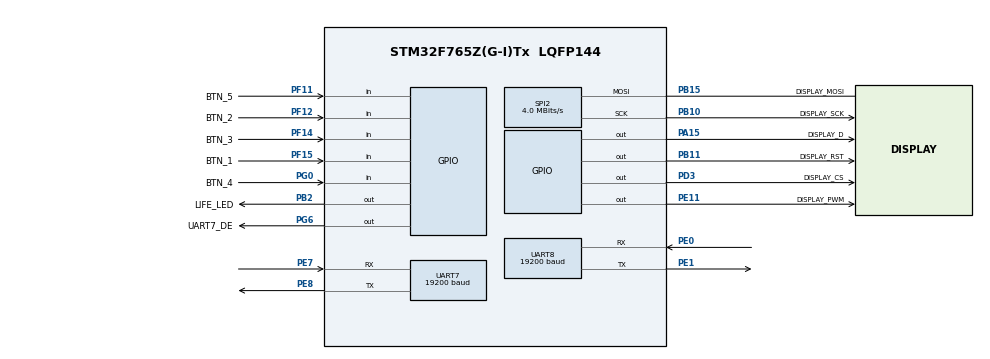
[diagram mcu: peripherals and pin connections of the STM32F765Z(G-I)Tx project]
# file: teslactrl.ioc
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Mcu.Family=STM32F7
Dma.SPI2_TX.0.MemInc=DMA_MINC_ENABLE
PG6.Signal=GPIO_Output
SPI2.VirtualType=VM_MASTER
PB10.Mode=Simplex_Bidirectional_Master
PE11.GPIO_Label=DISPLAY_PWM
PG6.GPIO_Label=UART7_DE
PG0.Signal=GPIO_Input
PB11.Signal=GPIO_Output
NVIC.DMA1_Stream4_IRQn=true\:0\:0\:false\:false\:true\:false\:true
PB15.Signal=SPI2_MOSI
Dma.SPI2_TX.0.Instance=DMA1_Stream4
ProjectManager.StackSize=0x400
Dma.SPI2_TX.0.MemDataAlignment=DMA_MDATAALIGN_HALFWORD
PA15.GPIO_Label=DISPLAY_D
SPI2.CLKPolarity=SPI_POLARITY_LOW
PF11.GPIO_Label=BTN_5
PF12.Signal=GPIO_Input
Dma.SPI2_TX.0.Mode=DMA_CIRCULAR
PE1.Signal=UART8_TX
SPI2.BaudRatePrescaler=SPI_BAUDRATEPRESCALER_4
RCC.HSE_VALUE=25000000
PB2.Signal=GPIO_Output
PB3.Mode=Trace_Asynchronous_SW
PF12.GPIO_Label=BTN_2
PA14.Mode=Trace_Asynchronous_SW
PF11.Signal=GPIO_Input
SPI2.CalculateBaudRate=4.0 MBits/s
Mcu.Package=LQFP144
Dma.SPI2_TX.0.PeriphBurst=DMA_PBURST_SINGLE
UART8.BaudRate=19200
SPI2.Mode=SPI_MODE_MASTER
PA15.Signal=GPIO_Output
PG0.GPIO_Label=BTN_4
SPI2.CLKPhase=SPI_PHASE_1EDGE
Dma.SPI2_TX.0.PeriphInc=DMA_PINC_DISABLE
PF14.Signal=GPIO_Input
SPI2.Direction=SPI_DIRECTION_1LINE
PD3.GPIO_Label=DISPLAY_CS
PE7.Signal=UART7_RX
Dma.Request0=SPI2_TX
PD3.Signal=GPIO_Output
PE1.Mode=Asynchronous
PB11.GPIO_Label=DISPLAY_RST
PF14.GPIO_Label=BTN_3
PE8.Mode=Asynchronous
PA13.Signal=SYS_JTMS-SWDIO
ProjectManager.TargetToolchain=STM32CubeIDE
PB10.GPIO_Label=DISPLAY_SCK
RCC.USBFreq_Value=96000000
PE11.Signal=GPIO_Output
RCC.LSE_VALUE=32768
PB10.Signal=SPI2_SCK
board=custom
RCC.VCOOutputFreq_Value=192000000
PB15.Mode=Simplex_Bidirectional_Master
Dma.SPI2_TX.0.FIFOThreshold=DMA_FIFO_THRESHOLD_FULL
PB15.GPIO_Label=DISPLAY_MOSI
PE8.Signal=UART7_TX
Dma.SPI2_TX.0.PeriphDataAlignment=DMA_PDATAALIGN_HALFWORD
PF15.GPIO_Label=BTN_1
PF15.Signal=GPIO_Input
PA13.Mode=Trace_Asynchronous_SW
PE0.Signal=UART8_RX
Mcu.Name=STM32F765Z(G-I)Tx
Dma.SPI2_TX.0.FIFOMode=DMA_FIFOMODE_ENABLE
PB3.Signal=SYS_JTDO-SWO
Dma.SPI2_TX.0.Priority=DMA_PRIORITY_LOW
PE7.Mode=Asynchronous
Dma.SPI2_TX.0.MemBurst=DMA_MBURST_SINGLE
PA14.Signal=SYS_JTCK-SWCLK
PB2.GPIO_Label=LIFE_LED
ProjectManager.HeapSize=0x200
UART7.BaudRate=19200
RCC.HSI_VALUE=16000000
NVIC.PriorityGroup=NVIC_PRIORITYGROUP_4
SPI2.DataSize=SPI_DATASIZE_8BIT
Dma.SPI2_TX.0.Direction=DMA_MEMORY_TO_PERIPH
PE0.Mode=Asynchronous

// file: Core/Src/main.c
/* USER CODE BEGIN Header */
/**
  ******************************************************************************
  * @file           : main.c
  * @brief          : Main program body
  ******************************************************************************
  * @attention
  *
  * <h2><center>&copy; Copyright (c) 2021 STMicroelectronics.
  * All rights reserved.</center></h2>
  *
  * This software component is licensed by ST under BSD 3-Clause license,
  * the "License"; You may not use this file except in compliance with the
  * License. You may obtain a copy of the License at:
  *                        opensource.org/licenses/BSD-3-Clause
  *
  ******************************************************************************
  */
/* USER CODE END Header */
#include "main.h"

/* USER CODE BEGIN Includes */
#include "modbus.h"
#include "ili9163.h"
#include "colors.h"

/* USER CODE END Includes */

SPI_HandleTypeDef hspi2;
DMA_HandleTypeDef hdma_spi2_tx;

UART_HandleTypeDef huart7;
UART_HandleTypeDef huart8;

/* USER CODE BEGIN PV */
uint8_t SPI_DMA_FL = 0;
uint32_t SPI_DMA_CNT=1;
uint8_t temp = 0;
/* USER CODE END PV */

void SystemClock_Config(void);
static void MX_GPIO_Init(void);
static void MX_DMA_Init(void);
static void MX_UART7_Init(void);
static void MX_UART8_Init(void);
static void MX_SPI2_Init(void);

/* USER CODE BEGIN 0 */
void HAL_SPI_TxCpltCallback(SPI_HandleTypeDef *hspi)
{
	SPI_DMA_CNT--;
	if(SPI_DMA_CNT==0)
	{
		HAL_SPI_DMAStop(&hspi2);
		SPI_DMA_CNT=1;
		SPI_DMA_FL=1;
	}
}

void HAL_SPI_ErrorCallback(SPI_HandleTypeDef *hspi)
{
	__NOP();
}
/* USER CODE END 0 */

int main(void)
{

  /* MCU Configuration--------------------------------------------------------*/

  /* Reset of all peripherals, Initializes the Flash interface and the Systick. */
  HAL_Init();

  /* Configure the system clock */
  SystemClock_Config();

  /* Initialize all configured peripherals */
  MX_GPIO_Init();
  MX_DMA_Init();
  MX_UART7_Init();
  MX_UART8_Init();
  MX_SPI2_Init();
  /* USER CODE BEGIN 2 */
  HAL_GPIO_WritePin(DISPLAY_PWM_GPIO_Port, DISPLAY_PWM_Pin, GPIO_PIN_SET);
  /*ili.rot = ROT0;
  ili.Height = 128;
  ili.Width = 160;
  Ili9163_Init(ili);
  uint8_t id = Ili9163_Read_ID1();*/
  ILI9163_init(0);
  ILI9163_newFrame();
  ILI9163_fillDisplay(GREEN);
  uint16_t test = 111;
  ILI9163_drawStringF(10, 10, Font_7x10, BLACK, "%u", test);
  //ILI9163_fillRect(0,0,200,200, RED);

  /* USER CODE END 2 */

  /* Infinite loop */
  while (1)
  {

    /* USER CODE BEGIN 3 */
	  ILI9163_render();
	  //id = Ili9163_Read_ID1();
	//Ili9163_Draw_Pixel(ili,10,10,BLACK);
	HAL_GPIO_TogglePin(LIFE_LED_GPIO_Port,LIFE_LED_Pin);
	HAL_Delay(500);
	//Modbus_RHR(1,2,4);
  }
  /* USER CODE END 3 */
}

void SystemClock_Config(void)
{
  RCC_OscInitTypeDef RCC_OscInitStruct = {0};
  RCC_ClkInitTypeDef RCC_ClkInitStruct = {0};
  RCC_PeriphCLKInitTypeDef PeriphClkInitStruct = {0};

  /** Configure the main internal regulator output voltage
  */
  __HAL_RCC_PWR_CLK_ENABLE();
  __HAL_PWR_VOLTAGESCALING_CONFIG(PWR_REGULATOR_VOLTAGE_SCALE3);
  /** Initializes the RCC Oscillators according to the specified parameters
  * in the RCC_OscInitTypeDef structure.
  */
  RCC_OscInitStruct.OscillatorType = RCC_OSCILLATORTYPE_HSI;
  RCC_OscInitStruct.HSIState = RCC_HSI_ON;
  RCC_OscInitStruct.HSICalibrationValue = RCC_HSICALIBRATION_DEFAULT;
  RCC_OscInitStruct.PLL.PLLState = RCC_PLL_NONE;
  if (HAL_RCC_OscConfig(&RCC_OscInitStruct) != HAL_OK)
  {
    Error_Handler();
  }
  /** Initializes the CPU, AHB and APB buses clocks
  */
  RCC_ClkInitStruct.ClockType = RCC_CLOCKTYPE_HCLK|RCC_CLOCKTYPE_SYSCLK
                              |RCC_CLOCKTYPE_PCLK1|RCC_CLOCKTYPE_PCLK2;
  RCC_ClkInitStruct.SYSCLKSource = RCC_SYSCLKSOURCE_HSI;
  RCC_ClkInitStruct.AHBCLKDivider = RCC_SYSCLK_DIV1;
  RCC_ClkInitStruct.APB1CLKDivider = RCC_HCLK_DIV1;
  RCC_ClkInitStruct.APB2CLKDivider = RCC_HCLK_DIV1;

  if (HAL_RCC_ClockConfig(&RCC_ClkInitStruct, FLASH_LATENCY_0) != HAL_OK)
  {
    Error_Handler();
  }
  PeriphClkInitStruct.PeriphClockSelection = RCC_PERIPHCLK_UART7|RCC_PERIPHCLK_UART8;
  PeriphClkInitStruct.Uart7ClockSelection = RCC_UART7CLKSOURCE_PCLK1;
  PeriphClkInitStruct.Uart8ClockSelection = RCC_UART8CLKSOURCE_PCLK1;
  if (HAL_RCCEx_PeriphCLKConfig(&PeriphClkInitStruct) != HAL_OK)
  {
    Error_Handler();
  }
}

static void MX_SPI2_Init(void)
{

  /* SPI2 parameter configuration*/
  hspi2.Instance = SPI2;
  hspi2.Init.Mode = SPI_MODE_MASTER;
  hspi2.Init.Direction = SPI_DIRECTION_1LINE;
  hspi2.Init.DataSize = SPI_DATASIZE_8BIT;
  hspi2.Init.CLKPolarity = SPI_POLARITY_LOW;
  hspi2.Init.CLKPhase = SPI_PHASE_1EDGE;
  hspi2.Init.NSS = SPI_NSS_SOFT;
  hspi2.Init.BaudRatePrescaler = SPI_BAUDRATEPRESCALER_4;
  hspi2.Init.FirstBit = SPI_FIRSTBIT_MSB;
  hspi2.Init.TIMode = SPI_TIMODE_DISABLE;
  hspi2.Init.CRCCalculation = SPI_CRCCALCULATION_DISABLE;
  hspi2.Init.CRCPolynomial = 7;
  hspi2.Init.CRCLength = SPI_CRC_LENGTH_DATASIZE;
  hspi2.Init.NSSPMode = SPI_NSS_PULSE_ENABLE;
  if (HAL_SPI_Init(&hspi2) != HAL_OK)
  {
    Error_Handler();
  }

}

static void MX_UART7_Init(void)
{

  huart7.Instance = UART7;
  huart7.Init.BaudRate = 19200;
  huart7.Init.WordLength = UART_WORDLENGTH_8B;
  huart7.Init.StopBits = UART_STOPBITS_1;
  huart7.Init.Parity = UART_PARITY_NONE;
  huart7.Init.Mode = UART_MODE_TX_RX;
  huart7.Init.HwFlowCtl = UART_HWCONTROL_NONE;
  huart7.Init.OverSampling = UART_OVERSAMPLING_16;
  huart7.Init.OneBitSampling = UART_ONE_BIT_SAMPLE_DISABLE;
  huart7.AdvancedInit.AdvFeatureInit = UART_ADVFEATURE_NO_INIT;
  if (HAL_UART_Init(&huart7) != HAL_OK)
  {
    Error_Handler();
  }

}

static void MX_UART8_Init(void)
{

  huart8.Instance = UART8;
  huart8.Init.BaudRate = 19200;
  huart8.Init.WordLength = UART_WORDLENGTH_8B;
  huart8.Init.StopBits = UART_STOPBITS_1;
  huart8.Init.Parity = UART_PARITY_NONE;
  huart8.Init.Mode = UART_MODE_TX_RX;
  huart8.Init.HwFlowCtl = UART_HWCONTROL_NONE;
  huart8.Init.OverSampling = UART_OVERSAMPLING_16;
  huart8.Init.OneBitSampling = UART_ONE_BIT_SAMPLE_DISABLE;
  huart8.AdvancedInit.AdvFeatureInit = UART_ADVFEATURE_NO_INIT;
  if (HAL_UART_Init(&huart8) != HAL_OK)
  {
    Error_Handler();
  }

}

static void MX_DMA_Init(void)
{

  /* DMA controller clock enable */
  __HAL_RCC_DMA1_CLK_ENABLE();

  /* DMA interrupt init */
  /* DMA1_Stream4_IRQn interrupt configuration */
  HAL_NVIC_SetPriority(DMA1_Stream4_IRQn, 0, 0);
  HAL_NVIC_EnableIRQ(DMA1_Stream4_IRQn);

}

static void MX_GPIO_Init(void)
{
  GPIO_InitTypeDef GPIO_InitStruct = {0};

  /* GPIO Ports Clock Enable */
  __HAL_RCC_GPIOB_CLK_ENABLE();
  __HAL_RCC_GPIOF_CLK_ENABLE();
  __HAL_RCC_GPIOG_CLK_ENABLE();
  __HAL_RCC_GPIOE_CLK_ENABLE();
  __HAL_RCC_GPIOA_CLK_ENABLE();
  __HAL_RCC_GPIOD_CLK_ENABLE();

  /*Configure GPIO pin Output Level */
  HAL_GPIO_WritePin(GPIOB, LIFE_LED_Pin|DISPLAY_RST_Pin, GPIO_PIN_RESET);

  /*Configure GPIO pin Output Level */
  HAL_GPIO_WritePin(DISPLAY_PWM_GPIO_Port, DISPLAY_PWM_Pin, GPIO_PIN_RESET);

  /*Configure GPIO pin Output Level */
  HAL_GPIO_WritePin(UART7_DE_GPIO_Port, UART7_DE_Pin, GPIO_PIN_RESET);

  /*Configure GPIO pin Output Level */
  HAL_GPIO_WritePin(DISPLAY_D_GPIO_Port, DISPLAY_D_Pin, GPIO_PIN_RESET);

  /*Configure GPIO pin Output Level */
  HAL_GPIO_WritePin(DISPLAY_CS_GPIO_Port, DISPLAY_CS_Pin, GPIO_PIN_RESET);

  /*Configure GPIO pins : LIFE_LED_Pin DISPLAY_RST_Pin */
  GPIO_InitStruct.Pin = LIFE_LED_Pin|DISPLAY_RST_Pin;
  GPIO_InitStruct.Mode = GPIO_MODE_OUTPUT_PP;
  GPIO_InitStruct.Pull = GPIO_NOPULL;
  GPIO_InitStruct.Speed = GPIO_SPEED_FREQ_LOW;
  HAL_GPIO_Init(GPIOB, &GPIO_InitStruct);

  /*Configure GPIO pins : BTN_5_Pin BTN_2_Pin BTN_3_Pin BTN_1_Pin */
  GPIO_InitStruct.Pin = BTN_5_Pin|BTN_2_Pin|BTN_3_Pin|BTN_1_Pin;
  GPIO_InitStruct.Mode = GPIO_MODE_INPUT;
  GPIO_InitStruct.Pull = GPIO_NOPULL;
  HAL_GPIO_Init(GPIOF, &GPIO_InitStruct);

  /*Configure GPIO pin : BTN_4_Pin */
  GPIO_InitStruct.Pin = BTN_4_Pin;
  GPIO_InitStruct.Mode = GPIO_MODE_INPUT;
  GPIO_InitStruct.Pull = GPIO_NOPULL;
  HAL_GPIO_Init(BTN_4_GPIO_Port, &GPIO_InitStruct);

  /*Configure GPIO pin : DISPLAY_PWM_Pin */
  GPIO_InitStruct.Pin = DISPLAY_PWM_Pin;
  GPIO_InitStruct.Mode = GPIO_MODE_OUTPUT_PP;
  GPIO_InitStruct.Pull = GPIO_NOPULL;
  GPIO_InitStruct.Speed = GPIO_SPEED_FREQ_LOW;
  HAL_GPIO_Init(DISPLAY_PWM_GPIO_Port, &GPIO_InitStruct);

  /*Configure GPIO pin : UART7_DE_Pin */
  GPIO_InitStruct.Pin = UART7_DE_Pin;
  GPIO_InitStruct.Mode = GPIO_MODE_OUTPUT_PP;
  GPIO_InitStruct.Pull = GPIO_NOPULL;
  GPIO_InitStruct.Speed = GPIO_SPEED_FREQ_LOW;
  HAL_GPIO_Init(UART7_DE_GPIO_Port, &GPIO_InitStruct);

  /*Configure GPIO pin : DISPLAY_D_Pin */
  GPIO_InitStruct.Pin = DISPLAY_D_Pin;
  GPIO_InitStruct.Mode = GPIO_MODE_OUTPUT_PP;
  GPIO_InitStruct.Pull = GPIO_NOPULL;
  GPIO_InitStruct.Speed = GPIO_SPEED_FREQ_LOW;
  HAL_GPIO_Init(DISPLAY_D_GPIO_Port, &GPIO_InitStruct);

  /*Configure GPIO pin : DISPLAY_CS_Pin */
  GPIO_InitStruct.Pin = DISPLAY_CS_Pin;
  GPIO_InitStruct.Mode = GPIO_MODE_OUTPUT_PP;
  GPIO_InitStruct.Pull = GPIO_NOPULL;
  GPIO_InitStruct.Speed = GPIO_SPEED_FREQ_LOW;
  HAL_GPIO_Init(DISPLAY_CS_GPIO_Port, &GPIO_InitStruct);

}

void Error_Handler(void)
{
  __disable_irq();
  while (1)
  {
  }
}

/************************ (C) COPYRIGHT STMicroelectronics *****END OF FILE****/
